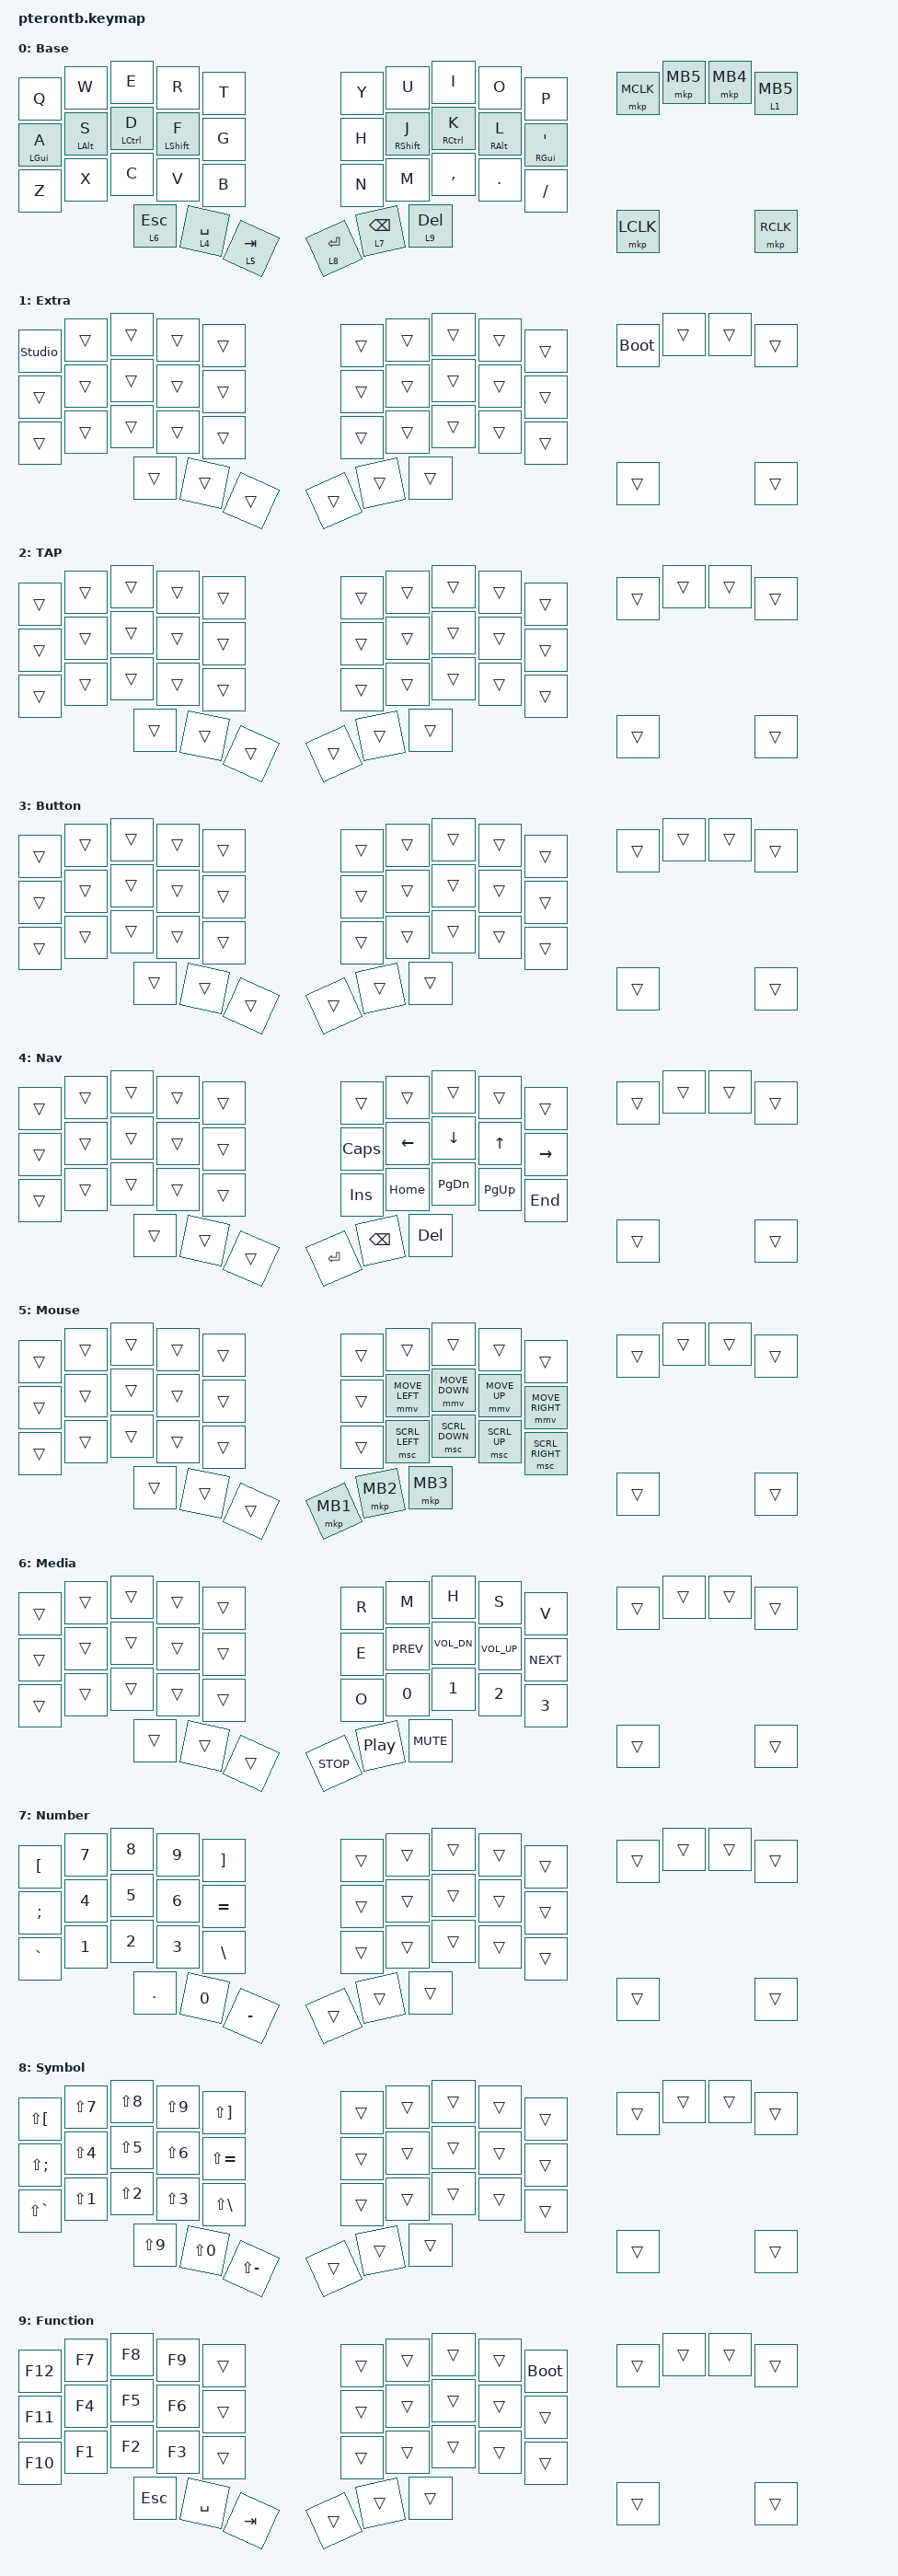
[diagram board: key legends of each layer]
#include <dt-bindings/zmk/input_transform.h>
#include <input/processors.dtsi>
#include <behaviors.dtsi>
#include <dt-bindings/zmk/keys.h>
#include <dt-bindings/zmk/pointing.h>
#include <scroll-snap.dtsi>

/ {
    behaviors {
        u_mt: u_mt {
            compatible = "zmk,behavior-hold-tap";
            label = "U_MT";
            bindings = <&kp>, <&kp>;

            #binding-cells = <2>;
            tapping-term-ms = <200>;
            flavor = "tap-preferred";
        };

        u_lt: u_lt {
            compatible = "zmk,behavior-hold-tap";
            label = "U_LT";
            bindings = <&mo>, <&kp>;

            #binding-cells = <2>;
            tapping-term-ms = <200>;
            flavor = "tap-preferred";
        };

        lth: lth {
            compatible = "zmk,behavior-hold-tap";
            label = "LTH";
            bindings = <&mo>, <&mkp>;

            #binding-cells = <2>;
            tapping-term-ms = <150>;
            hold-while-undecided;
        };
        
    };

    keymap {
        compatible = "zmk,keymap";

        BASE {
            display-name = "Base";
            bindings = <
&kp Q         &kp W         &kp E           &kp R           &kp T        &kp Y          &kp U              &kp I           &kp O         &kp P
&u_mt LGUI A  &u_mt LALT S  &u_mt LCTRL D   &u_mt LSHIFT F  &kp G        &kp H          &u_mt RSHIFT J     &u_mt RCTRL K   &u_mt RALT L  &u_mt RGUI SQT
&kp Z         &kp X         &kp C           &kp V           &kp B        &kp N          &kp M              &kp COMMA       &kp PERIOD    &kp SLASH
                            &u_lt 6 ESCAPE  &u_lt 4 SPACE   &u_lt 5 TAB  &u_lt 8 ENTER  &u_lt 7 BACKSPACE  &u_lt 9 DELETE
&mkp MCLK     &mkp MB5      &mkp MB4        &lth 1 MB5      &mkp LCLK    &mkp RCLK
            >;
        };

        Extra {
            bindings = <
&studio_unlock  &trans  &trans  &trans  &trans  &trans  &trans  &trans  &trans  &trans
&trans          &trans  &trans  &trans  &trans  &trans  &trans  &trans  &trans  &trans
&trans          &trans  &trans  &trans  &trans  &trans  &trans  &trans  &trans  &trans
                        &trans  &trans  &trans  &trans  &trans  &trans
&bootloader     &trans  &trans  &trans  &trans  &trans  
            >;

            label = "Extra";
        };

        Tap {
            bindings = <
&trans  &trans  &trans  &trans  &trans  &trans  &trans  &trans  &trans  &trans
&trans  &trans  &trans  &trans  &trans  &trans  &trans  &trans  &trans  &trans
&trans  &trans  &trans  &trans  &trans  &trans  &trans  &trans  &trans  &trans
                &trans  &trans  &trans  &trans  &trans  &trans
&trans  &trans  &trans  &trans  &trans  &trans
            >;

            label = "TAP";
        };

        Button {
            bindings = <
&trans  &trans  &trans  &trans  &trans  &trans  &trans  &trans  &trans  &trans
&trans  &trans  &trans  &trans  &trans  &trans  &trans  &trans  &trans  &trans
&trans  &trans  &trans  &trans  &trans  &trans  &trans  &trans  &trans  &trans
                &trans  &trans  &trans  &trans  &trans  &trans
&trans  &trans  &trans  &trans  &trans  &trans
            >;

            label = "Button";
        };

        Nav {
            bindings = <
&trans  &trans  &trans  &trans  &trans  &trans    &trans         &trans         &trans       &trans
&trans  &trans  &trans  &trans  &trans  &kp CLCK  &kp LEFT       &kp DOWN       &kp UP       &kp RIGHT
&trans  &trans  &trans  &trans  &trans  &kp INS   &kp HOME       &kp PAGE_DOWN  &kp PAGE_UP  &kp END
                &trans  &trans  &trans  &kp RET   &kp BACKSPACE  &kp DELETE
&trans  &trans  &trans  &trans  &trans  &trans
            >;

            label = "Nav";
        };

        Mouse {
            bindings = <
&trans  &trans  &trans  &trans  &trans  &trans    &trans          &trans          &trans        &trans
&trans  &trans  &trans  &trans  &trans  &trans    &mmv MOVE_LEFT  &mmv MOVE_DOWN  &mmv MOVE_UP  &mmv MOVE_RIGHT
&trans  &trans  &trans  &trans  &trans  &trans    &msc SCRL_LEFT  &msc SCRL_DOWN  &msc SCRL_UP  &msc SCRL_RIGHT
                &trans  &trans  &trans  &mkp MB1  &mkp MB2        &mkp MB3
&trans  &trans  &trans  &trans  &trans  &trans
            >;

            label = "Mouse";
        };

        Media {
            bindings = <
&trans  &trans  &trans  &trans  &trans  &kp R       &kp M             &kp H         &kp S         &kp V
&trans  &trans  &trans  &trans  &trans  &kp E       &kp C_PREV        &kp C_VOL_DN  &kp C_VOL_UP  &kp C_NEXT
&trans  &trans  &trans  &trans  &trans  &kp O       &kp N0            &kp N1        &kp N2        &kp N3
                &trans  &trans  &trans  &kp C_STOP  &kp C_PLAY_PAUSE  &kp C_MUTE
&trans  &trans  &trans  &trans  &trans  &trans
            >;

            label = "Media";
        };

        Num {
            bindings = <
&kp LBKT   &kp N7  &kp N8   &kp N9  &kp RBKT   &trans  &trans  &trans  &trans  &trans
&kp SEMI   &kp N4  &kp N5   &kp N6  &kp EQUAL  &trans  &trans  &trans  &trans  &trans
&kp GRAVE  &kp N1  &kp N2   &kp N3  &kp BSLH   &trans  &trans  &trans  &trans  &trans
                   &kp DOT  &kp N0  &kp MINUS  &trans  &trans  &trans
&trans     &trans  &trans   &trans  &trans     &trans
            >;

            label = "Number";
        };

        Sym {
            bindings = <
&kp LS(LEFT_BRACKET)  &kp LS(N7)        &kp LS(N8)        &kp LS(N9)        &kp LS(RIGHT_BRACKET)  &trans  &trans  &trans  &trans  &trans
&kp LS(SEMICOLON)     &kp LS(NUMBER_4)  &kp LS(N5)        &kp LS(NUMBER_6)  &kp LS(EQUAL)          &trans  &trans  &trans  &trans  &trans
&kp LS(GRAVE)         &kp LS(NUMBER_1)  &kp LS(NUMBER_2)  &kp LS(NUMBER_3)  &kp LS(BACKSLASH)      &trans  &trans  &trans  &trans  &trans
                                        &kp LS(N9)        &kp LS(N0)        &kp LS(MINUS)          &trans  &trans  &trans
&trans                &trans            &trans            &trans            &trans                 &trans
            >;

            label = "Symbol";
        };

        Fun {
            bindings = <
&kp F12  &kp F7  &kp F8   &kp F9     &trans   &trans  &trans  &trans  &trans  &bootloader
&kp F11  &kp F4  &kp F5   &kp F6     &trans   &trans  &trans  &trans  &trans  &trans
&kp F10  &kp F1  &kp F2   &kp F3     &trans   &trans  &trans  &trans  &trans  &trans
                 &kp ESC  &kp SPACE  &kp TAB  &trans  &trans  &trans
&trans   &trans  &trans   &trans     &trans   &trans
            >;

            label = "Function";
        };
    };
};

&input_listener_trackball0 {
    

    default {
        layers = <0>;
        process-next;
    };

    scroll {
        layers = <1 2>;
        input-processors =
            <&zip_xy_transform (INPUT_TRANSFORM_Y_INVERT)>,
            <&zip_xy_scaler 1 12>,
            <&zip_xy_to_scroll_mapper>,
            <&zip_scroll_snap>;

        process-next;
    };

    snipe {
        layers = <3>;
        input-processors = <&zip_xy_scaler 1 5>;
        process-next;
    };
};
